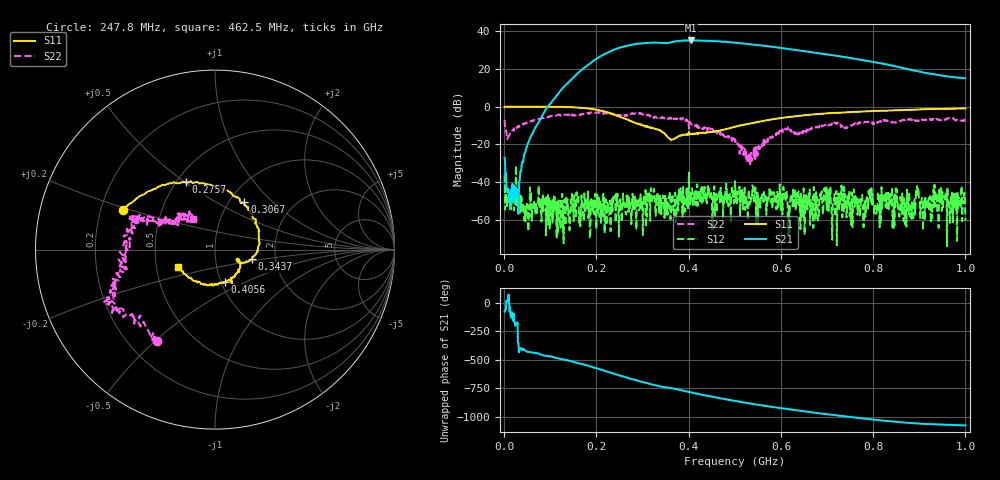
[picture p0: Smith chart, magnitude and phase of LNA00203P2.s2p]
! Created with skrf 1.9.0 (http://scikit-rf.org).
# Hz S RI R 50.0
!freq ReS11 ImS11 ReS21 ImS21 ReS12 ImS12 ReS22 ImS22
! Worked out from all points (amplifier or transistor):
!   1001 points, 1 MHz to 1 GHz, reference 50 ohm
!   highest |S21| = 35.0 dB at 405.6 MHz (marker M1)
!   |S21| within 3 dB of that: 263.9 MHz to 569 MHz (305.1 MHz wide, 73.3 % of centre)
!   unconditionally stable (mu >= 1): start of sweep to 103.9 MHz; 215.1 MHz to 400.1 MHz; 400.9 MHz to end of sweep (the widest 3 of 17)
!   at 166.8 MHz: K = 1.60, MAG = 30.8 dB, |S12| = -51.4 dB
!   at 500.5 MHz: K = 1.14, MAG = 34.4 dB, |S12| = -39.5 dB
!   at 1 GHz: K = 14.63, MAG = 23.1 dB, |S12| = -60.4 dB
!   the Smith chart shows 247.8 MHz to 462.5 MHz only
!   S11 on the Smith chart (normalised r, x): 247.8 MHz: 0.29, +0.19; 275.7 MHz: 0.56, +0.50; 306.7 MHz: 1.18, +0.69; 343.7 MHz: 1.51, -0.17; 405.6 MHz: 1.05, -0.39; 462.5 MHz: 0.65, -0.13
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1000000  0.9809 0.007  0.0118 -0.0429  -0.0107 0.0112  0.3107 0.322
1.08892e8  0.5092 -0.849  -0.7481 -1.448  0.00174 -0.00125  0.4294 -0.3819
1.67833e8  -0.2476 -0.8968  -9.34 -0.6494  0.000269 0.00447  0.0422 -0.6458
2.11789e8  -0.6929 -0.348  -15.03 16.74  -0.00138 -0.000773  -0.1751 -0.6476
2.29771e8  -0.6721 -0.0399  -9.331 27.36  -0.00292 -0.00141  -0.2576 -0.5938
2.47753e8  -0.5123 0.2232  2.442 35.29  0.00135 0.00138  -0.3236 -0.5092
2.75725e8  -0.1619 0.3756  26.64 34.05  -0.000759 0.000133  -0.5578 -0.3285
3.06694e8  0.1636 0.2633  46.1 14.44  -0.00115 0.0061  -0.5675 -0.1814
3.34666e8  0.2405 0.0113  48.34 -8.832  0.002 0.00252  -0.5207 -0.0752
3.43657e8  0.2062 -0.0529  46.01 -14.7  0.00267 0.00292  -0.5157 -0.0304
3.74626e8  0.1381 -0.0688  41.89 -33.9  -0.00276 0.00193  -0.4377 0.1457
4.05595e8  0.0566 -0.1794  21.77 -52.02  0.00255 0.00309  -0.3097 0.1646
4.33567e8  -0.0816 -0.1839  -0.5997 -55.24  0.00373 0.000482  -0.1981 0.2031
4.62538e8  -0.2062 -0.0963  -21.52 -48.83  0.00326 -0.00174  -0.1251 0.1692
5.005e8  -0.2723 0.1075  -38.79 -30.68  0.00963 -0.00456  -0.1093 0.0377
5.39461e8  -0.2041 0.3063  -43.23 -8.801  0.00568 -0.00432  -0.0455 -0.000745
5.85415e8  -0.0158 0.4697  -36.07 11.27  0.000721 -0.00448  -0.1564 -0.0796
6.25375e8  0.1745 0.5185  -24.68 20.78  -0.00124 -0.00193  -0.1721 -0.1409
6.67333e8  0.3803 0.485  -12.51 24.2  -0.0015 0.00242  -0.2653 -0.0411
7.53247e8  0.6614 0.2767  4.808 18.45  -0.00194 -0.00502  -0.3132 0.0154
8.34166e8  0.7871 0.0198  9.751 8.173  -0.000675 -0.00182  -0.4061 0.0723
1e9  0.721 -0.5304  5.658 0.2313  -0.000289 0.000906  -0.2406 0.3606
